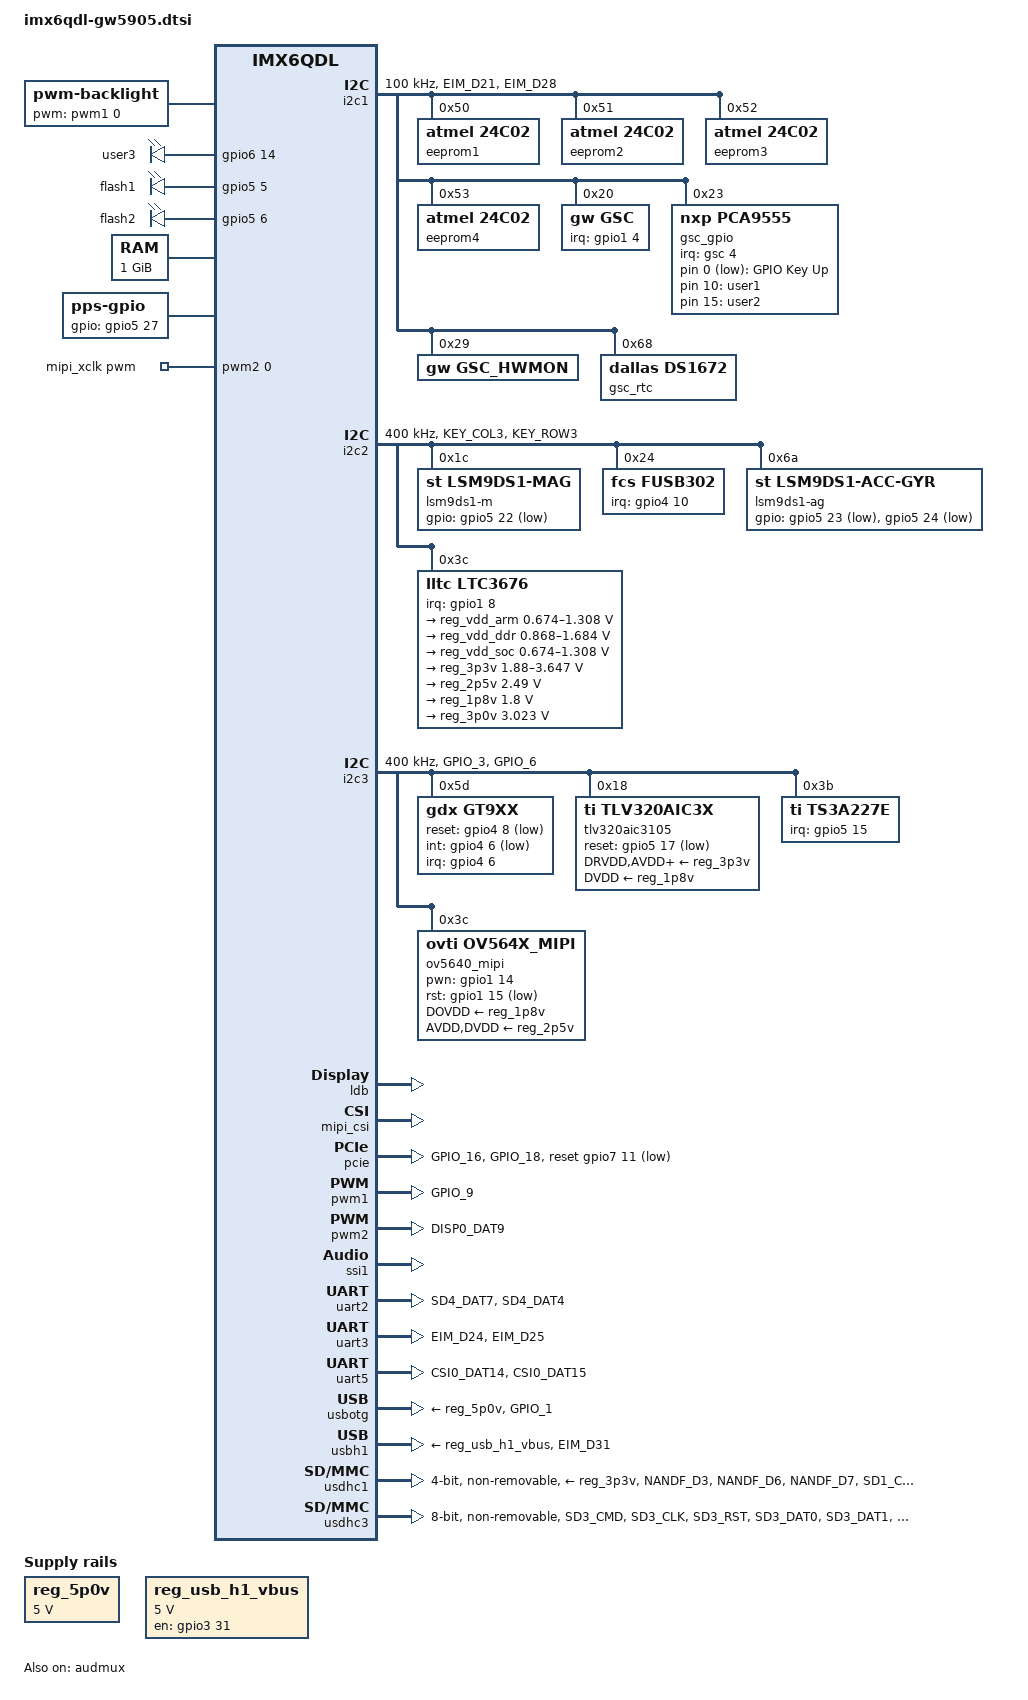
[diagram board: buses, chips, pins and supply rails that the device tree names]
// SPDX-License-Identifier: GPL-2.0
/*
 * Copyright 2019 Gateworks Corporation
 */

#include <dt-bindings/gpio/gpio.h>

/ {
	aliases {
		mxcfb0 = &mxcfb1;
		ssi0 = &ssi1;
	};

	chosen {
		bootargs = "console=ttymxc1,115200";
	};

	backlight {
		compatible = "pwm-backlight";
		pwms = <&pwm1 0 5000000>;
		brightness-levels = <
			0  1  2  3  4  5  6  7  8  9
			10 11 12 13 14 15 16 17 18 19
			20 21 22 23 24 25 26 27 28 29
			30 31 32 33 34 35 36 37 38 39
			40 41 42 43 44 45 46 47 48 49
			50 51 52 53 54 55 56 57 58 59
			60 61 62 63 64 65 66 67 68 69
			70 71 72 73 74 75 76 77 78 79
			80 81 82 83 84 85 86 87 88 89
			90 91 92 93 94 95 96 97 98 99
			100
			>;
		default-brightness-level = <100>;
	};

	gpio-button {
		compatible = "gpio-keys";
		#address-cells = <1>;
		#size-cells = <0>;
		autorepeat;

               button@1 {
                        label = "GPIO Key Up";
                        linux,code = <256>;
                        debounce-interval = <100>;
                        gpios = <&gsc_gpio 0 GPIO_ACTIVE_LOW>;
               };
	};

	leds {
		compatible = "gpio-leds";
		pinctrl-names = "default";
		pinctrl-0 = <&pinctrl_gpio_leds>;

		led0: user1 {
			label = "user1";
			gpios = <&gsc_gpio 10 GPIO_ACTIVE_HIGH>;
			default-state = "off";
		};

		led1: user2 {
			label = "user2";
			gpios = <&gsc_gpio 15 GPIO_ACTIVE_HIGH>;
			default-state = "off";
		};
		led2: user3 {
			label = "user3";
			gpios = <&gpio6 14 GPIO_ACTIVE_HIGH>;
			linux,default-trigger = "heartbeat";
		};

		led3: user4 {
			label = "flash1";
			gpios = <&gpio5 5 GPIO_ACTIVE_HIGH>;
			default-state = "off";
		};

		led4: user5 {
			label = "flash2";
			gpios = <&gpio5 6 GPIO_ACTIVE_HIGH>;
			default-state = "off";
		};
	};

	memory {
		reg = <0x10000000 0x40000000>;
	};

	pps {
		compatible = "pps-gpio";
		pinctrl-names = "default";
		pinctrl-0 = <&pinctrl_pps>;
		gpios = <&gpio5 27 GPIO_ACTIVE_HIGH>;
		status = "okay";
	};

	reg_5p0v: regulator-5p0v {
		compatible = "regulator-fixed";
		regulator-name = "5P0V";
		regulator-min-microvolt = <5000000>;
		regulator-max-microvolt = <5000000>;
		regulator-always-on;
	};

	reg_usb_h1_vbus: regulator-usb-h1-vbus {
		compatible = "regulator-fixed";
		regulator-name = "usb_h1_vbus";
		regulator-min-microvolt = <5000000>;
		regulator-max-microvolt = <5000000>;
		gpio = <&gpio3 31 GPIO_ACTIVE_HIGH>;
		enable-active-high;
	};

	mipi_xclk: mipi_xclk {
		compatible = "pwm-clock";
		#clock-cells = <0>;
		clock-frequency = <25000000>;
		clock-output-names = "mipi_pwm2";
		pwms = <&pwm2 0 40>; /* 1/40ns = 25MHz */
	};

	sound {
		compatible = "fsl,imx-audio-tlv320";
		model = "imx-tlv320";
		cpu-dai = <&ssi1>;
		audio-codec = <&tlv320aic3105>;
		/* routing of sink, source */
		audio-routing =
			"LINE1L", "Mic Jack",
			"Int Spk", "LLOUT",
			"Headphone Jack", "HPLOUT",
			"Headphone Jack", "HPROUT",
			"Mic Jack", "Mic Bias";
		mux-int-port = <1>;
		mux-ext-port = <6>;
	};

	mxcfb1: fb@0 {
		/* 8bit LVDS */
		compatible = "fsl,mxc_sdc_fb";
		disp_dev = "ldb";
		interface_pix_fmt = "RGB24";
		default_bpp = <24>;
		int_clk = <0>;
		late_init = <0>;
		status = "okay";
	};

	v4l2_cap_0 {
		compatible = "fsl,imx6q-v4l2-capture";
		ipu_id = <0>;
		csi_id = <0>;
		mclk_source = <0>;
		status = "okay";
	};

	v4l2_out {
		compatible = "fsl,mxc_v4l2_output";
		status = "okay";
	};
};

&audmux {
	pinctrl-names = "default";
	pinctrl-0 = <&pinctrl_audmux>;
	status = "okay";
};

&gpc {
	fsl,ldo-bypass = <0>;
};

&i2c1 {
	clock-frequency = <100000>;
	pinctrl-names = "default";
	pinctrl-0 = <&pinctrl_i2c1>;
	status = "okay";

	eeprom1: eeprom@50 {
		compatible = "atmel,24c02";
		reg = <0x50>;
		pagesize = <16>;
	};

	eeprom2: eeprom@51 {
		compatible = "atmel,24c02";
		reg = <0x51>;
		pagesize = <16>;
	};

	eeprom3: eeprom@52 {
		compatible = "atmel,24c02";
		reg = <0x52>;
		pagesize = <16>;
	};

	eeprom4: eeprom@53 {
		compatible = "atmel,24c02";
		reg = <0x53>;
		pagesize = <16>;
	};

	gsc: gsc@20 {
		compatible = "gw,gsc";
		pinctrl-names = "default";
		pinctrl-0 = <&pinctrl_gsc>;
		reg = <0x20>;
		interrupt-parent = <&gpio1>;
		interrupts = <4 GPIO_ACTIVE_LOW>;
		interrupt-controller;
		#interrupt-cells = <1>;

		/* GSC watchdog */
		watchdog {
			compatible = "gw,gsc_wdt";
			status = "okay";
		};

		/* Linux input events from GSC interrupt events */
		input {
			compatible = "gw,gsc_input";
			interrupt-parent = <&gsc>;
			interrupts = <0 1 2 5 7>;
			interrupt-names = "button", "key-erased", "eeprom-wp", "tamper", "button-held";
			status = "okay";
		};
	};

	gsc_gpio: pca9555@23 {
		compatible = "nxp,pca9555";
		reg = <0x23>;
		gpio-controller;
		#gpio-cells = <2>;
		interrupt-parent = <&gsc>;
		interrupts = <4>;
	};

	gsc_hwmon: hwmon@29 {
		compatible = "gw,gsc_hwmon";
		reg = <0x29>;
	};

	gsc_rtc: ds1672@68 {
		compatible = "dallas,ds1672";
		reg = <0x68>;
	};
};

&i2c2 {
	clock-frequency = <400000>;
	pinctrl-names = "default";
	pinctrl-0 = <&pinctrl_i2c2>;
	status = "okay";

	/* LSM9DS1 magnetic sensor */
	lsm9ds1-m@1c {
		compatible = "st,lsm9ds1-mag";
		reg = <0x1C>;
		pinctrl-names = "default";
		pinctrl-0 = <&pinctrl_imu_mag>;
		gpios = <&gpio5 22 GPIO_ACTIVE_LOW>; /* IRQ */
		rot-matrix = /bits/ 16 <(0) (-1) (0)
			(-1) (0) (0)
			(0) (0) (1)>;
		poll-interval = <100>;
		min-interval = <13>;
		fs-range = <0>;
	};

	fusb302@24 {
		compatible = "fcs,fusb302";
		pinctrl-names = "default";
		pinctrl-0 = <&pinctrl_usbpd>;
		reg = <0x24>;
		interrupt-parent = <&gpio4>;
		interrupts = <10 IRQ_TYPE_EDGE_FALLING>;
		fcs,max-sink-microvolt = <20000000>;
		fcs,max-sink-microamp = <3000000>;
		fcs,max-sink-microwatt = <60000000>;
	};

	/* LSM9DS1 accelerometer/gyroscope sensor */
	lsm9ds1-ag@6a {
		compatible = "st,lsm9ds1-acc-gyr";
		reg = <0x6A>;
		pinctrl-names = "default";
		pinctrl-0 = <&pinctrl_imu_acc>;
		gpios = <&gpio5 23 GPIO_ACTIVE_LOW>, /* INT1 */
			<&gpio5 24 GPIO_ACTIVE_LOW>; /* INT2 */
		rot-matrix = /bits/ 16 <(0) (-1) (0)
			(-1) (0) (0)
			(0) (0) (1)>;
		g-poll-interval = <100>;
		g-min-interval = <2>;
		g-fs-range = <0>;
		x-poll-interval = <100>;
		x-min-interval = <1>;
		x-fs-range = <0>;
		aa-filter-bw = <0>;
	};

	ltc3676: pmic@3c {
		compatible = "lltc,ltc3676";
		pinctrl-names = "default";
		pinctrl-0 = <&pinctrl_pmic>;
		reg = <0x3c>;
		interrupt-parent = <&gpio1>;
		interrupts = <8 IRQ_TYPE_EDGE_FALLING>;

		regulators {
			/* VDD_ARM (1+R1/R2 = 1.635) */
			reg_vdd_arm: sw1 {
				regulator-name = "vddarm";
				regulator-min-microvolt = <674400>;
				regulator-max-microvolt = <1308000>;
				lltc,fb-voltage-divider = <127000 200000>;
				regulator-ramp-delay = <7000>;
				regulator-boot-on;
				regulator-always-on;
				linux,phandle = <&reg_vdd_arm>;
			};

			/* VDD_DDR (1+R1/R2 = 2.105) */
			reg_vdd_ddr: sw2 {
				regulator-name = "vddddr";
				regulator-min-microvolt = <868310>;
				regulator-max-microvolt = <1684000>;
				lltc,fb-voltage-divider = <221000 200000>;
				regulator-ramp-delay = <7000>;
				regulator-boot-on;
				regulator-always-on;
			};

			/* VDD_SOC (1+R1/R2 = 1.635) */
			reg_vdd_soc: sw3 {
				regulator-name = "vddsoc";
				regulator-min-microvolt = <674400>;
				regulator-max-microvolt = <1308000>;
				lltc,fb-voltage-divider = <127000 200000>;
				regulator-ramp-delay = <7000>;
				regulator-boot-on;
				regulator-always-on;
				linux,phandle = <&reg_vdd_soc>;
			};

                        /* VDD_3P3 (1+R1/R2 = 1.281) */                                                  reg_3p3v: sw4 {                                                                          regulator-name = "vdd3p3";                                                       regulator-min-microvolt = <1880000>;                                             regulator-max-microvolt = <3647000>;                                             lltc,fb-voltage-divider = <200000 56200>;
				regulator-ramp-delay = <7000>;
				regulator-boot-on;
				regulator-always-on;
			};

			/* VDD_2P5 (1+R1/R2 = 3.435): PCIe */
			reg_2p5v: ldo2 {
				regulator-name = "vdd2p5";
				regulator-min-microvolt = <2490375>;
				regulator-max-microvolt = <2490375>;
				lltc,fb-voltage-divider = <487000 200000>;
				regulator-boot-on;
				regulator-always-on;
			};

			/* VDD_AUD_1P8: Audio codec */
			reg_1p8v: ldo3 {
				regulator-name = "vdd1p8";
				regulator-min-microvolt = <1800000>;
				regulator-max-microvolt = <1800000>;
				regulator-boot-on;
			};

			/* VDD_HIGH (1+R1/R2 = 4.17) */
			reg_3p0v: ldo4 {
				regulator-name = "vdd3p0";
				regulator-min-microvolt = <3023250>;
				regulator-max-microvolt = <3023250>;
				lltc,fb-voltage-divider = <634000 200000>;
				regulator-boot-on;
				regulator-always-on;
			};
		};
	};
};

&i2c3 {
	clock-frequency = <400000>;
	pinctrl-names = "default";
	pinctrl-0 = <&pinctrl_i2c3>;
	status = "okay";

	/* touchscreen */
	gt9xx@5d {
		compatible = "gdx,gt9xx";
		pinctrl-names = "default";
		pinctrl-0 = <&pinctrl_touch>;
		reg = <0x5d>;
		interrupt-parent = <&gpio4>;
		interrupts = <6 IRQ_TYPE_EDGE_FALLING>;
		reset-gpio = <&gpio4 8 GPIO_ACTIVE_LOW>;
		int-gpio = <&gpio4 6 GPIO_ACTIVE_LOW>;
	};

	tlv320aic3105: codec@18 {
		compatible = "ti,tlv320aic3x";
		pinctrl-names = "default";
		pinctrl-0 = <&pinctrl_tlv320>;
		reg = <0x18>;
		gpio-reset = <&gpio5 17 GPIO_ACTIVE_LOW>;
		clocks = <&clks IMX6QDL_CLK_CKO>;
		ai3x-micbias-vg = <2>; /* MICBIAS_2_5V */
		/* Regulators */
		DRVDD-supply = <&reg_3p3v>;
		AVDD-supply = <&reg_3p3v>;
		IOVDD-supply = <&reg_3p3v>;
		DVDD-supply = <&reg_1p8v>;
	};

	/* headphone detect */
	ts3a227e@3b {
		compatible = "ti,ts3a227e";
		pinctrl-names = "default";
		pinctrl-0 = <&pinctrl_hpdet>;
		reg = <0x3b>;
		interrupt-parent = <&gpio5>;
		interrupts = <15 IRQ_TYPE_LEVEL_LOW>;
		ti,micbias = <4>; /* 2.5V micbias */
	};

	ov5640_mipi: camera@3c {
		compatible = "ovti,ov564x_mipi";
		pinctrl-names = "default";
		pinctrl-0 = <&pinctrl_camera>;
		reg = <0x3c>;
		clocks = <&mipi_xclk>;
		clock-names = "csi_mclk";
		DOVDD-supply = <&reg_1p8v>;
		AVDD-supply = <&reg_2p5v>;
		DVDD-supply = <&reg_2p5v>;
		pwn-gpios = <&gpio1 14 0>;
		rst-gpios = <&gpio1 15 1>;
		csi_id = <0>;
		mclk = <24000000>;
		mclk_source = <0>;
	};
};

&ldb {
	status = "okay";

	lvds0: lvds-channel@0 {
		fsl,data-mapping = "spwg";
		fsl,data-width = <24>;
		crtc = "ipu1-di0";
		status = "okay";
		primary;

		display-timings {
			native-mode = <&timing0>;

			timing0: z101wx01 {
				clock-frequency = <64000000>;
				hactive = <1280>;
				vactive = <800>;
				hback-porch = <220>;
				hfront-porch = <40>;
				vback-porch = <21>;
				vfront-porch = <7>;
				hsync-len = <60>;
				vsync-len = <10>;
				linux,phandle = <&timing0>;
			};
		};
	};
};

&mipi_csi {
	status = "okay";
	ipu_id = <0>;
	csi_id = <0>;
	v_channel = <0>;
	lanes = <2>;
};

&pcie {
	pinctrl-names = "default";
	pinctrl-0 = <&pinctrl_pcie>;
	reset-gpio = <&gpio7 11 GPIO_ACTIVE_LOW>;
	status = "okay";
};

/* LVDS PWM */
&pwm1 {
	pinctrl-names = "default";
	pinctrl-0 = <&pinctrl_pwm1>;
	status = "okay";
};

/* MIPI PWM */
&pwm2 {
	pinctrl-names = "default";
	pinctrl-0 = <&pinctrl_pwm2>;
	status = "okay";
};

&ssi1 {
	fsl,mode = "i2s-slave";
	status = "okay";
};

&uart2 {
	pinctrl-names = "default";
	pinctrl-0 = <&pinctrl_uart2>;
	status = "okay";
};

/* DECT module */
&uart3 {
	pinctrl-names = "default";
	pinctrl-0 = <&pinctrl_uart3>;
	status = "okay";
};

/* GPS */
&uart5 {
	pinctrl-names = "default";
	pinctrl-0 = <&pinctrl_uart5>;
	status = "okay";
};

&usbotg {
	vbus-supply = <&reg_5p0v>;
	pinctrl-names = "default";
	pinctrl-0 = <&pinctrl_usbotg>;
	disable-over-current;
	srp-disable;
	hnp-disable;
	adp-disable;
	status = "okay";
};

&usbh1 {
	pinctrl-names = "default";
	pinctrl-0 = <&pinctrl_usbh1>;
	vbus-supply = <&reg_usb_h1_vbus>;
	status = "okay";
};

/* usdhc@02190000 uBlox - EMMY */
&usdhc1 {
	pinctrl-names = "default";
	pinctrl-0 = <&pinctrl_usdhc1_200mhz>;
	vmmc-supply = <&reg_3p3v>;
	non-removable;
	bus-width = <4>;
	status = "okay";
};

/* usdhc@02198000 eMMC */
&usdhc3 {
	pinctrl-names = "default";
	pinctrl-0 = <&pinctrl_usdhc3>;
	bus-width = <8>;
	no-1-8-v;
	non-removable;
	status = "okay";
};

&wdog1 {
	pinctrl-names = "default";
	pinctrl-0 = <&pinctrl_wdog>;
	ext-reset-output;
};

&iomuxc {
	imx6qdl-gw5905 {
		pinctrl_audmux: audmuxgrp {
			fsl,pins = <
				MX6QDL_PAD_DI0_PIN2__AUD6_TXD	0x130b0
				MX6QDL_PAD_DI0_PIN3__AUD6_TXFS	0x130b0
				MX6QDL_PAD_DI0_PIN4__AUD6_RXD	0x130b0
				MX6QDL_PAD_DI0_PIN15__AUD6_TXC	0x130b0
			>;
		};

		pinctrl_gpio_leds: gpioledsgrp {
			fsl,pins = <
				MX6QDL_PAD_NANDF_CS1__GPIO6_IO14	0x1b0b0 /* LOCLED */
				MX6QDL_PAD_DISP0_DAT11__GPIO5_IO05	0x1b0b0 /* LED FLASH1 */
				MX6QDL_PAD_DISP0_DAT12__GPIO5_IO06	0x1b0b0 /* LED FLASH2 */
				MX6QDL_PAD_GPIO_17__GPIO7_IO12		0x1b0b0 /* LVDS_CABC */
			>;
		};

		pinctrl_gsc: gscgrp {
			fsl,pins = <
				MX6QDL_PAD_GPIO_4__GPIO1_IO04 		0x1b0b0
			>;
		};

		pinctrl_i2c1: i2c1grp {
			fsl,pins = <
				MX6QDL_PAD_EIM_D21__I2C1_SCL		0x4001b8b1
				MX6QDL_PAD_EIM_D28__I2C1_SDA		0x4001b8b1
			>;
		};

		pinctrl_i2c2: i2c2grp {
			fsl,pins = <
				MX6QDL_PAD_KEY_COL3__I2C2_SCL		0x4001b8b1
				MX6QDL_PAD_KEY_ROW3__I2C2_SDA		0x4001b8b1
			>;
		};

		pinctrl_i2c3: i2c3grp {
			fsl,pins = <
				MX6QDL_PAD_GPIO_3__I2C3_SCL		0x4001b8b1
				MX6QDL_PAD_GPIO_6__I2C3_SDA		0x4001b8b1
			>;
		};

		pinctrl_imu_acc: gpioimxaccgrp {
			fsl,pins = <
				MX6QDL_PAD_CSI0_DAT5__GPIO5_IO23	0x1b0b0 /* INT1 */
				MX6QDL_PAD_CSI0_DAT6__GPIO5_IO24	0x1b0b0 /* INT2 */
				MX6QDL_PAD_CSI0_DAT7__GPIO5_IO25	0x1b0b0 /* Data ready */
			>;
		};

		pinctrl_imu_mag: gpioimxmaggrp {
			fsl,pins = <
				MX6QDL_PAD_CSI0_DAT4__GPIO5_IO22	0x1b0b0 /* IRQ */
				MX6QDL_PAD_CSI0_DAT8__GPIO5_IO26	0x1b0b0 /* Data Enable */
			>;
		};

		pinctrl_pcie: pciegrp {
			fsl,pins = <
				MX6QDL_PAD_GPIO_16__GPIO7_IO11		0x1b0b0 /* PCIE RST */
				MX6QDL_PAD_GPIO_18__GPIO7_IO13		0x4001b0b0 /* PCIESKT_WDIS# */
			>;
		};

		pinctrl_pmic: pmicgrp {
			fsl,pins = <
				MX6QDL_PAD_GPIO_8__GPIO1_IO08		0x1b0b0
			>;
		};

		pinctrl_pps: ppsgrp {
			fsl,pins = <
				MX6QDL_PAD_CSI0_DAT9__GPIO5_IO27	0x1b0b0
			>;
		};

		pinctrl_pwm1: pwm1grp {
			fsl,pins = <
				MX6QDL_PAD_GPIO_9__PWM1_OUT		0x1b0b1
			>;
		};

		pinctrl_camera: cameragrp {
			fsl,pins = <
				MX6QDL_PAD_SD2_DAT0__GPIO1_IO15		0x1b0b1
				MX6QDL_PAD_SD2_DAT1__GPIO1_IO14		0x1b0b1
			>;
		};

		pinctrl_pwm2: pwm2grp {
			fsl,pins = <
				MX6QDL_PAD_DISP0_DAT9__PWM2_OUT		0x1b0b1
			>;
		};

		pinctrl_tlv320: tlv320grp {
			fsl,pins = <
				MX6QDL_PAD_DISP0_DAT23__GPIO5_IO17	0x1b0b1
				MX6QDL_PAD_GPIO_0__CCM_CLKO1		0x130b0 /* MCK */
			>;
		};

		pinctrl_touch: touchgrp {
			fsl,pins = <
				MX6QDL_PAD_KEY_COL0__GPIO4_IO06		0x1b0b1
				MX6QDL_PAD_KEY_COL1__GPIO4_IO08		0x1b0b1
			>;
		};

		pinctrl_hpdet: hpdetgrp {
			fsl,pins = <
				MX6QDL_PAD_DISP0_DAT21__GPIO5_IO15	0x1b0b1
				MX6QDL_PAD_DISP0_DAT22__GPIO5_IO16	0x1b0b1
			>;
		};

		pinctrl_uart2: uart2grp {
			fsl,pins = <
				MX6QDL_PAD_SD4_DAT7__UART2_TX_DATA	0x1b0b1
				MX6QDL_PAD_SD4_DAT4__UART2_RX_DATA	0x1b0b1
			>;
		};

		pinctrl_uart3: uart3grp {
			fsl,pins = <
				MX6QDL_PAD_EIM_D24__UART3_TX_DATA       0x1b0b1
				MX6QDL_PAD_EIM_D25__UART3_RX_DATA       0x1b0b1
			>;
		};

		pinctrl_uart5: uart5grp {
			fsl,pins = <
				MX6QDL_PAD_CSI0_DAT14__UART5_TX_DATA	0x1b0b1
				MX6QDL_PAD_CSI0_DAT15__UART5_RX_DATA	0x1b0b1
			>;
		};

		pinctrl_usbh1: usbh1grp {
			fsl,pins = <
				MX6QDL_PAD_EIM_D31__GPIO3_IO31		0x1b0b1
			>;
		};

		pinctrl_usbpd: usbpdgrp {
			fsl,pins = <
				MX6QDL_PAD_KEY_COL2__GPIO4_IO10		0x1b0b0
			>;
		};

		pinctrl_usbotg: usbotggrp {
			fsl,pins = <
				MX6QDL_PAD_GPIO_1__USB_OTG_ID		0x17059
			>;
		};

		/* uBlox - EMMY */
		pinctrl_usdhc1_200mhz: usdhc1grp200mhz {
			fsl,pins = <
				MX6QDL_PAD_NANDF_D3__GPIO2_IO03		0x4001b0b0 /* EMMY_EN */
				MX6QDL_PAD_NANDF_D6__GPIO2_IO06		0x0001b0b0 /* EMMY_BTWAKE# */
				MX6QDL_PAD_NANDF_D7__GPIO2_IO07		0x0001b0b0 /* EMMY_WFWAKE# */
				MX6QDL_PAD_SD1_CLK__SD1_CLK		0x100f9
				MX6QDL_PAD_SD1_CMD__SD1_CMD		0x100f9
				MX6QDL_PAD_SD1_DAT0__SD1_DATA0		0x170f9
				MX6QDL_PAD_SD1_DAT1__SD1_DATA1		0x170f9
				MX6QDL_PAD_SD1_DAT2__SD1_DATA2		0x170f9
				MX6QDL_PAD_SD1_DAT3__SD1_DATA3		0x170f9
			>;
		};

		/* eMMC */
		pinctrl_usdhc3: usdhc3grp {
			fsl,pins = <
				MX6QDL_PAD_SD3_CMD__SD3_CMD		0x17059
				MX6QDL_PAD_SD3_CLK__SD3_CLK		0x10059
				MX6QDL_PAD_SD3_RST__SD3_RESET		0x10059
				MX6QDL_PAD_SD3_DAT0__SD3_DATA0		0x17059
				MX6QDL_PAD_SD3_DAT1__SD3_DATA1		0x17059
				MX6QDL_PAD_SD3_DAT2__SD3_DATA2		0x17059
				MX6QDL_PAD_SD3_DAT3__SD3_DATA3		0x17059
				MX6QDL_PAD_SD3_DAT4__SD3_DATA4		0x17059
				MX6QDL_PAD_SD3_DAT5__SD3_DATA5		0x17059
				MX6QDL_PAD_SD3_DAT6__SD3_DATA6		0x17059
				MX6QDL_PAD_SD3_DAT7__SD3_DATA7		0x17059
			>;
		};

		pinctrl_wdog: wdoggrp {
			fsl,pins = <
				MX6QDL_PAD_DISP0_DAT8__WDOG1_B		0x1b0b0
			>;
		};
	};
};
